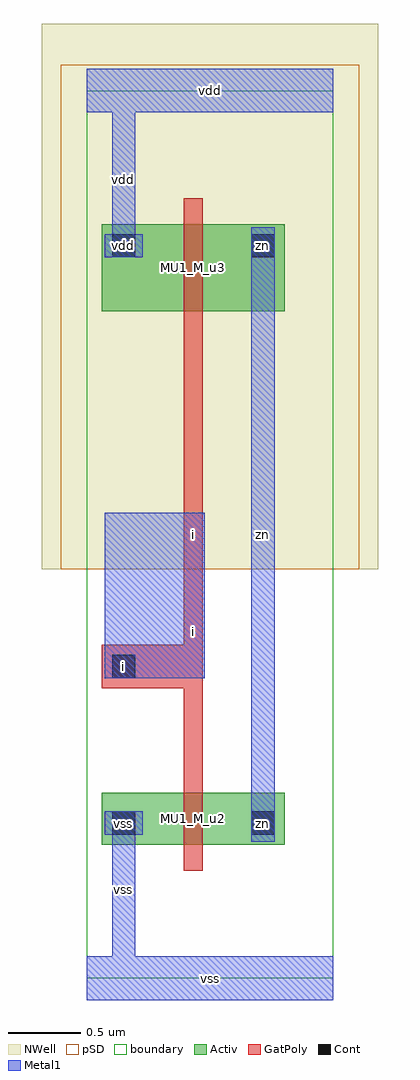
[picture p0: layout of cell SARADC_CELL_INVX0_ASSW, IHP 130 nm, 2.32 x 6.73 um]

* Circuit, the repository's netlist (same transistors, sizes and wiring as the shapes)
** Cell name: SARADC_CELL_INVX0_ASSW
** Lib name: sg13g2f
.SUBCKT SARADC_CELL_INVX0_ASSW i vdd vss zn vnw vpw
*.PININFO i:B zn:B vdd:B vss:B 
MU1_M_u2 zn i vss vpw sg13_lv_nmos l=1.300e-07 w=3.600e-07
MU1_M_u3 zn i vdd vnw sg13_lv_pmos l=1.300e-07 w=6.000e-07
.ENDS

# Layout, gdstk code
import gdstk
lib = gdstk.Library(unit=1e-6, precision=1e-09)
def R(c, l, rs):  # rectangles x0, y0, x1, y1
    for r in rs: c.add(gdstk.rectangle(r[:2], r[2:], *l))
Activ = (1, 0)
GatPoly = (5, 0)
Cont = (6, 0)
Metal1 = (8, 0)
pSD = (14, 0)
NWell = (31, 0)
TEXT = (63, 0)
boundary = (189, 4)

saradc_cell_invx0_assw = lib.new_cell('SARADC_CELL_INVX0_ASSW')
R(saradc_cell_invx0_assw, Activ, [(0.105,0.92,1.365,1.28), (0.105,0.92,0.405,1.22), (1.065,0.92,1.365,1.22), (0.105,4.6,1.365,5.2), (0.105,4.9,0.405,5.2), (1.065,4.9,1.365,5.2)])
R(saradc_cell_invx0_assw, GatPoly, [(0.67,0.74,0.8,1.46), (0.67,1.005,0.8,5.115), (0.105,2,0.405,2.3), (0.405,2,0.67,2.3), (0.67,4.42,0.8,5.38)])
R(saradc_cell_invx0_assw, Cont, [(0.175,0.99,0.335,1.15), (1.135,0.99,1.295,1.15), (0.175,2.07,0.335,2.23), (0.175,4.97,0.335,5.13), (1.135,4.97,1.295,5.13)])
R(saradc_cell_invx0_assw, Metal1, [(0,-0.15,1.7,0.15), (0.175,0.07,0.335,1.15), (1.135,0.94,1.295,1.2), (0.125,0.99,0.385,1.15), (1.135,0.99,1.295,5.13), (0.125,2.07,0.815,3.21), (0.655,2.07,0.815,2.71), (1.135,4.92,1.295,5.18), (0.125,4.97,0.385,5.13), (0.175,4.97,0.335,6.05), (0,5.97,1.7,6.27)])
R(saradc_cell_invx0_assw, pSD, [(-0.18,2.82,1.88,5.94), (-0.18,5.94,1.88,6.3)])
R(saradc_cell_invx0_assw, NWell, [(-0.31,2.82,2.01,6.58)])
R(saradc_cell_invx0_assw, boundary, [(0,0,1.7,6.12)])
saradc_cell_invx0_assw.add(gdstk.FlexPath([(0.105,0.41),(1.365,0.41)], 0, ends="flush", simple_path=True, layer=63, datatype=0))  # TEXT
saradc_cell_invx0_assw.add(gdstk.FlexPath([(0.105,1.07),(1.365,1.07)], 0, ends="flush", simple_path=True, layer=63, datatype=0))  # TEXT
saradc_cell_invx0_assw.add(gdstk.FlexPath([(0.105,1.49),(1.365,1.49)], 0, ends="flush", simple_path=True, layer=63, datatype=0))  # TEXT
saradc_cell_invx0_assw.add(gdstk.FlexPath([(0.105,2.15),(1.365,2.15)], 0, ends="flush", simple_path=True, layer=63, datatype=0))  # TEXT
saradc_cell_invx0_assw.add(gdstk.FlexPath([(0.105,2.63),(1.365,2.63)], 0, ends="flush", simple_path=True, layer=63, datatype=0))  # TEXT
saradc_cell_invx0_assw.add(gdstk.FlexPath([(0.105,3.11),(1.365,3.11)], 0, ends="flush", simple_path=True, layer=63, datatype=0))  # TEXT
saradc_cell_invx0_assw.add(gdstk.FlexPath([(0.105,4.15),(1.365,4.15)], 0, ends="flush", simple_path=True, layer=63, datatype=0))  # TEXT
saradc_cell_invx0_assw.add(gdstk.FlexPath([(0.105,4.71),(1.365,4.71)], 0, ends="flush", simple_path=True, layer=63, datatype=0))  # TEXT
saradc_cell_invx0_assw.add(gdstk.FlexPath([(0.105,5.05),(1.365,5.05)], 0, ends="flush", simple_path=True, layer=63, datatype=0))  # TEXT
saradc_cell_invx0_assw.add(gdstk.FlexPath([(0.105,5.71),(1.365,5.71)], 0, ends="flush", simple_path=True, layer=63, datatype=0))  # TEXT
saradc_cell_invx0_assw.add(gdstk.FlexPath([(0.255,0.07),(0.255,6.05)], 0, ends="flush", simple_path=True, layer=63, datatype=0))  # TEXT
saradc_cell_invx0_assw.add(gdstk.FlexPath([(0.735,0.07),(0.735,6.05)], 0, ends="flush", simple_path=True, layer=63, datatype=0))  # TEXT
saradc_cell_invx0_assw.add(gdstk.FlexPath([(1.215,0.07),(1.215,6.05)], 0, ends="flush", simple_path=True, layer=63, datatype=0))  # TEXT
saradc_cell_invx0_assw.add(gdstk.Label('MU1_M_u2', (0.735,1.1), layer=1, texttype=0))
saradc_cell_invx0_assw.add(gdstk.Label('MU1_M_u3', (0.735,4.9), layer=1, texttype=0))
saradc_cell_invx0_assw.add(gdstk.Label('zn', (1.215,1.07), layer=1, texttype=0))
saradc_cell_invx0_assw.add(gdstk.Label('zn', (1.215,5.05), layer=1, texttype=0))
saradc_cell_invx0_assw.add(gdstk.Label('vss', (0.255,1.07), layer=1, texttype=0))
saradc_cell_invx0_assw.add(gdstk.Label('vdd', (0.255,5.05), layer=1, texttype=0))
saradc_cell_invx0_assw.add(gdstk.Label('i', (0.255,2.15), layer=5, texttype=0))
saradc_cell_invx0_assw.add(gdstk.Label('i', (0.735,3.06), layer=5, texttype=0))
saradc_cell_invx0_assw.add(gdstk.Label('i', (0.255,2.15), layer=6, texttype=0))
saradc_cell_invx0_assw.add(gdstk.Label('zn', (1.215,1.07), layer=6, texttype=0))
saradc_cell_invx0_assw.add(gdstk.Label('zn', (1.215,5.05), layer=6, texttype=0))
saradc_cell_invx0_assw.add(gdstk.Label('vss', (0.255,1.07), layer=6, texttype=0))
saradc_cell_invx0_assw.add(gdstk.Label('vdd', (0.255,5.05), layer=6, texttype=0))
saradc_cell_invx0_assw.add(gdstk.Label('vss', (0.255,1.07), layer=8, texttype=0))
saradc_cell_invx0_assw.add(gdstk.Label('vss', (0.255,0.61), layer=8, texttype=0))
saradc_cell_invx0_assw.add(gdstk.Label('vdd', (0.255,5.05), layer=8, texttype=0))
saradc_cell_invx0_assw.add(gdstk.Label('vdd', (0.255,5.51), layer=8, texttype=0))
saradc_cell_invx0_assw.add(gdstk.Label('i', (0.255,2.15), layer=8, texttype=2))
saradc_cell_invx0_assw.add(gdstk.Label('zn', (1.215,1.07), layer=8, texttype=2))
saradc_cell_invx0_assw.add(gdstk.Label('zn', (1.215,5.05), layer=8, texttype=2))
saradc_cell_invx0_assw.add(gdstk.Label('zn', (1.215,3.06), layer=8, texttype=2))
saradc_cell_invx0_assw.add(gdstk.Label('i', (0.735,2.39), layer=8, texttype=2))
saradc_cell_invx0_assw.add(gdstk.Label('vss', (0.85,0), layer=8, texttype=2))
saradc_cell_invx0_assw.add(gdstk.Label('vdd', (0.85,6.12), layer=8, texttype=2))

lib.write_gds('SARADC_CELL_INVX0_ASSW.gds')
